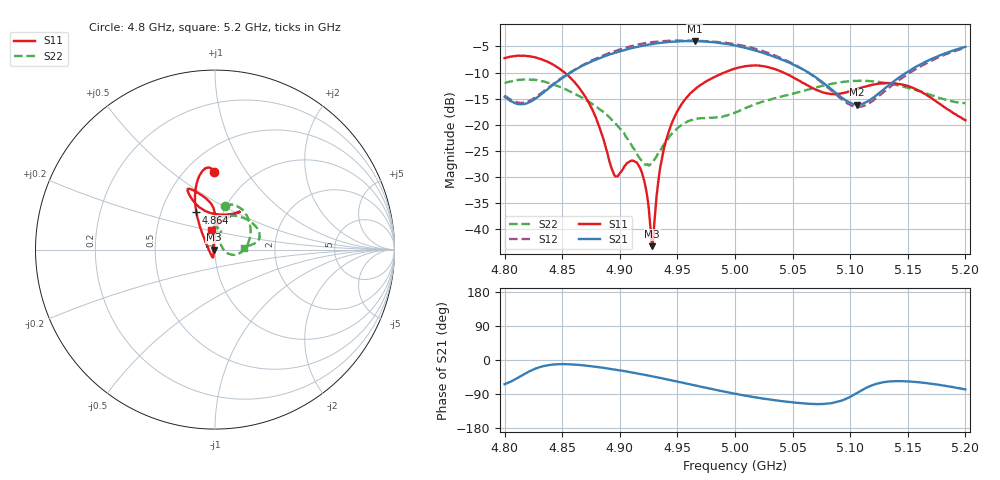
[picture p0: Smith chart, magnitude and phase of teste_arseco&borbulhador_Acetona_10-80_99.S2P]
! Network Analyzer HP8722D
! Hewlett-Packard
! Data name: Linha & Wilkinson
! Saver's name: Rodrigo Anjos
! Comments: Teste da utilização de aquisição
! continua pelo VNA HP8722D
! Time and date: 25/4/2025 16:05
!  Frequency  S11  S21  S12  S22
# HZ  S  MA R 50
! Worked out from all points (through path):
!   401 points, 4.8 GHz to 5.2 GHz, reference 50 ohm
!   highest |S21| = -3.97 dB at 4.965 GHz (marker M1); lowest = -16.1 dB at 5.106 GHz (marker M2)
!   lowest |S11| = -43.2 dB at 4.928 GHz (marker M3), VSWR 1.01, Z = 49.3 - j0.0982 ohm
!   |S11| at or under -10 dB: 4.852 GHz to 4.991 GHz (138.7 MHz wide, 2.82 % of centre); 5.042 GHz to end of sweep
!   |S22| runs from -27.8 to -11.3 dB; largest |S21 - S12| = 1.2
!   S11 on the Smith chart (normalised r, x): 4.8 GHz: 0.68, +0.72; 4.864 GHz: 0.75, +0.33; 5.2 GHz: 0.94, +0.21
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4.8e9  0.4347 90.7  0.1853 -63.8  0.1905 69.9  0.2507 77.1
4.82e9  0.4534 96.9  0.1616 -32.4  0.1674 98.5  0.2712 61.6
4.864e9  0.2314 116.6  0.3495 -12.8  0.3535 120.9  0.1897 11.9
4.867e9  0.2078 118.3  0.3648 -13.9  0.3684 120.7  0.1827 8.5
4.88e9  0.1113 128.6  0.4238 -18.3  0.4335 118.2  0.1481 -5.4
4.896e9  0.03225 -164.5  0.49 -25.4  0.5073 113.0  0.1039 -16.2
4.909e9  0.04497 -107.7  0.5358 -32.2  0.562 107.6  0.06707 -14.4
4.917e9  0.03963 -103.5  0.5636 -36.5  0.5908 103.4  0.04843 -1.5
4.922e9  0.02664 -107.3  0.5753 -39.2  0.604 100.6  0.04168 15.9
4.928e9  0.006924 -171.7  0.592 -43.0  0.6175 97.1  0.04387 40.8
4.93e9  0.01166 125.2  0.5963 -44.2  0.6205 95.7  0.04644 48.3
4.934e9  0.03241 99.7  0.6038 -46.9  0.6292 93.3  0.05468 58.1
4.939e9  0.06353 93.2  0.614 -49.9  0.6347 90.0  0.06681 66.0
4.946e9  0.1094 89.9  0.6241 -54.5  0.6398 85.6  0.08419 70.3
4.965e9  0.2177 91.0  0.6332 -67.0  0.6376 73.4  0.1139 71.6
5e9  0.3457 109.0  0.5721 -89.1  0.5927 50.7  0.1312 88.4
5.03e9  0.3528 115.2  0.4643 -103.9  0.4814 33.7  0.1733 85.2
5.067e9  0.2261 105.2  0.3006 -115.9  0.2977 23.6  0.2226 57.0
5.106e9  0.2199 64.5  0.1561 -86.9  0.1486 56.2  0.2631 24.8
5.134e9  0.2508 57.2  0.2418 -56.6  0.2275 88.7  0.248 12.3
5.169e9  0.185 69.9  0.4188 -62.1  0.4028 84.8  0.1947 6.8
5.2e9  0.1107 100.6  0.556 -77.6  0.5462 70.0  0.1611 3.8
